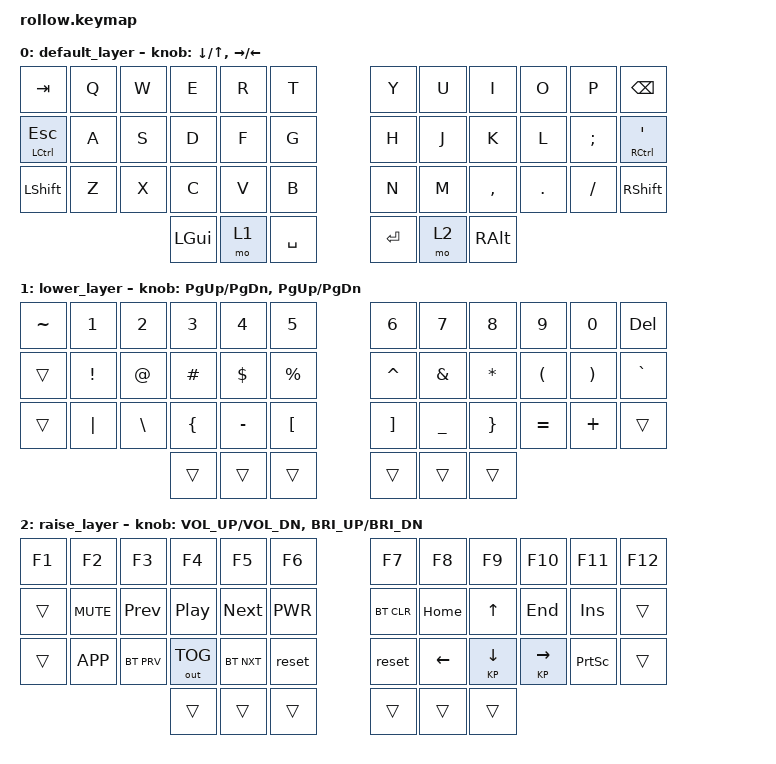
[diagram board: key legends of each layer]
/*
 * Copyright (c) 2020 The ZMK Contributors
 *
 * SPDX-License-Identifier: MIT
 */

#include <behaviors.dtsi>
#include <dt-bindings/zmk/keys.h>
#include <dt-bindings/zmk/bt.h>

#define COL   0
#define COLL  1
#define COLR  2

/ {
        behaviors {
        tp: tap_mods {
            compatible = "zmk,behavior-hold-tap";
            label = "TAP_MODS";
            #binding-cells = <2>;
            tapping_term_ms = <200>;
            flavor = "tap-preferred";
            bindings = <&kp>, <&kp>;
                };
         };


        keymap {
                compatible = "zmk,keymap";

                default_layer {
/* Default
 * .---------------------------------------------.                    .-----------------------------------------.
 * | TAB      |   Q  |   W  |   E  |   R  |   T  |                    |   Y  |   U  |   I  |   O  |   P  | BKSP |
 * |----------+------+------+------+------+------|                    |------+------+------+------+------+------|
 * | ESC/CTRL |   A  |   S  |   D  |   F  |   G  |                    |   H  |   J  |   K  |   L  |   ;  |'/CTRL|
 * |----------+------+------+------+------+------|                    |------+------+------+------+------+------|
 * | SHFT     |   Z  |   X  |   C  |   V  |   B  |-------.    .-------|   N  |   M  |   ,  |   .  |   /  | SHFT |
 * '---------------------------------------------/       /     \      \-----------------------------------------'
 *                              |  GUI |  LWR | / Space /       \ Enter\  |RAISE | ALT  |
 *                              |      |      |/       /         \      \ |      |      |
 *                              '-------------''------'           '------''-------------'
 *
 *   Encoder Left: Up <-> Down
 *   Encoder Right: Left <-> Right
 */
			bindings = <
&kp TAB         &kp Q   &kp W   &kp E	        &kp R   &kp T           &kp Y   &kp U   &kp I           &kp O   &kp P		&kp BSPC
&mt LCTRL ESC	&kp A   &kp S	&kp D	        &kp F   &kp G           &kp H   &kp J   &kp K           &kp L   &kp SEMI	&mt RCTRL SQT
&kp LSHFT	&kp Z   &kp X	&kp C	        &kp V   &kp B           &kp N   &kp M   &kp COMMA       &kp DOT	&kp FSLH	&kp RSHFT
                                &kp LGUI        &mo 1   &kp SPC         &kp RET	&mo 2	&kp RALT
			>;
                        sensor-bindings = <&inc_dec_kp DOWN UP &inc_dec_kp RIGHT LEFT>;
		};

                lower_layer {
/* LOWER
 * .-----------------------------------------.                    .-----------------------------------------.
 * |   ~  |   1  |  2   |  3   |  4   |  5   |                    |   6  |   7  |   8  |   9  |   0  | Del  |
 * |------+------+------+------+------+------|                    |------+------+------+------+------+------|
 * |      |   !  |  @   |  #   |  $   |  %   |                    |   ^  |   &  |   *  |   (  |   )  |   `  |
 * |------+------+------+------+------+------|                    |------+------+------+------+------+------|
 * |      |   |  |  \   |  {   |  -   |  [   |-------.    .-------|   ]  |   _  |   }  |   =  |   +  |      |
 * '-----------------------------------------/       /     \      \-----------------------------------------'
 *                          |      |      | /       /       \      \  |      |      |
 *                          |      |      |/       /         \      \ |      |      |
 *                          '-------------''------'           '------''-------------'
 *
 *   Encoder Left: PG_UP <-> PG_DN
 *   Encoder Right: PG_UP <-> PG_DN
 */
 			bindings = <
&kp TILDE	&kp N1		&kp N2		&kp N3		&kp N4		&kp N5          &kp N6		&kp N7		&kp N8		&kp N9		&kp N0		&kp DEL
&trans  	&kp EXCL	&kp AT		&kp HASH	&kp DLLR	&kp PRCNT       &kp CARET	&kp AMPS	&kp STAR	&kp LPAR	&kp RPAR	&kp GRAVE
&trans  	&kp PIPE	&kp BSLH	&kp LBRC	&kp MINUS	&kp LBKT        &kp RBKT	&kp UNDER	&kp RBRC	&kp EQUAL 	&kp PLUS	&trans
                                                &trans		&trans		&trans		&trans          &trans          &trans
			>;
                        sensor-bindings = <&inc_dec_kp PG_UP PG_DN &inc_dec_kp PG_UP PG_DN>;
                };

                raise_layer {
/* RAISE
 * .-----------------------------------------.                    .-----------------------------------------.
 * |  F1  |  F2  |  F3  |  F4  |  F5  |  F6  |                    |  F7  |  F8  |  F9  | F10  | F11  | F12  |
 * |------+------+------+------+------+------|                    |------+------+------+------+------+------|
 * |      |VolMut| Prev | Play | Next |Power |                    |BTClr | Home |   ↑  |  End | Ins  |      |
 * |------+------+------+------+------+------|                    |------+------+------+------+------+------|
 * |      | Menu |BTPrev|OutTog|BTNext|Reset |-------.    .-------|Reset |   ←  |   ↓  |   →  | PScrn|      |
 * '-----------------------------------------/       /     \      \-----------------------------------------'
 *                          |      |      | /       /       \      \  |      |      |
 *                          |      |      |/       /         \      \ |      |      |
 *                          '------------''------'            '------''-------------'
 *
 *   Encoder Left: VOL_UP <-> VOL_D
 *   Encoder Right: BRI_UP <-> BRI_DN
 */
                        bindings = <
&kp F1  &kp F2          &kp F3          &kp F4          &kp F5          &kp F6          &kp F7          &kp F8          &kp F9          &kp F10         &kp F11         &kp F12
&trans  &kp C_MUTE      &kp C_Prev      &kp C_Play      &kp C_Next      &kp C_PWR       &bt BT_CLR      &kp HOME        &kp UP          &kp END         &kp INS         &trans
&trans  &kp K_APP       &bt BT_PRV      &out OUT_TOG    &bt BT_NXT      &reset          &reset          &kp LEFT        &KP DOWN        &KP RIGHT       &kp PSCRN       &trans
                                        &trans          &trans          &trans          &trans          &trans          &trans
                        >;
                        sensor-bindings = <&inc_dec_kp C_VOL_UP C_VOL_DN &inc_dec_kp C_BRI_UP C_BRI_DN>;
                };
 
        };
};
